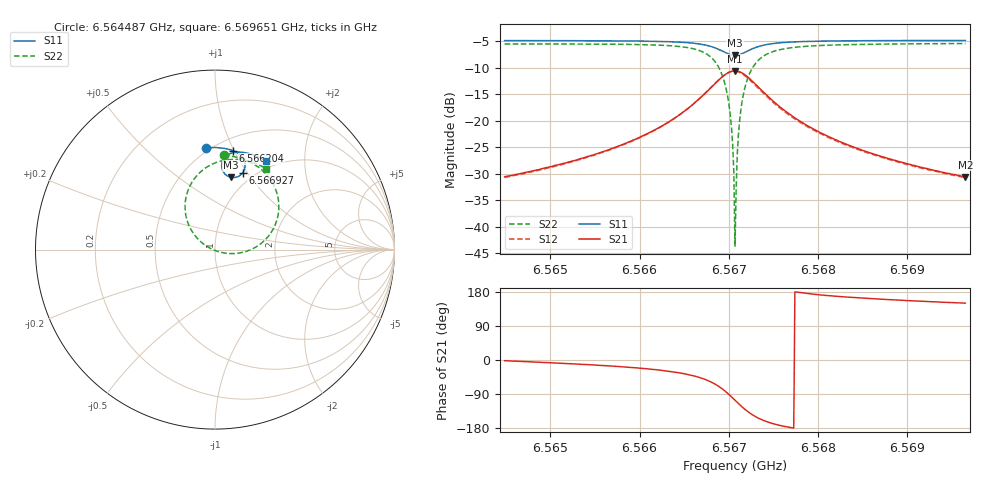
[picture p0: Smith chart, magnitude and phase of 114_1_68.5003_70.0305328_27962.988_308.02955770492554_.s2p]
#  HZ  S  RI  R  50.00
! Rohde & Schwarz Vector Network Analyzer
! Rohde-Schwarz,ZNB20-2Port,1311601062101988,3.16
! Created: UTC 3/20/2024, 4:53:41 PM
! freq[Hz]  re:S11  im:S11  re:S21  im:S21  re:S12  im:S12  re:S22  im:S22
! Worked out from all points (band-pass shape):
!   401 points, 6.564487 GHz to 6.569651 GHz, reference 50 ohm
!   highest |S21| = -10.60 dB at 6.567069 GHz (marker M1); lowest = -30.6 dB at 6.569651 GHz (marker M2)
!   |S21| within 3 dB of the highest: 6.56681 GHz to 6.567327 GHz (517.3 kHz wide, 0.00788 % of centre)
!   lowest |S11| = -7.7 dB at 6.567069 GHz (marker M3), VSWR 2.40, Z = 41.7 + j40.5 ohm
!   |S11| at or under -10 dB: nowhere
!   |S22| runs from -43.7 to -5.4 dB; largest |S21 - S12| = 0.015
!   S11 on the Smith chart (normalised r, x): 6.564487 GHz: 0.47, +0.79; 6.566204 GHz: 0.62, +0.99; 6.566927 GHz: 0.88, +0.95; 6.569651 GHz: 0.89, +1.31
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6.5644869e9  -0.0521 0.567  0.0295 -0.000973  0.029 -0.00153  0.0501 0.5261
6.5653519e9  0.0195 0.5677  0.0431 -0.00885  0.0425 -0.00933  0.1345 0.5109
6.5662041e9  0.1013 0.5508  0.0762 -0.0372  0.075 -0.0383  0.2533 0.4507
6.566217e9  0.1027 0.5501  0.077 -0.0383  0.0758 -0.0392  0.2556 0.4487
6.5667205e9  0.1626 0.4941  0.1132 -0.1353  0.1105 -0.1382  0.3551 0.2596
6.5668367e9  0.1668 0.4599  0.1018 -0.1953  0.0966 -0.199  0.3382 0.1452
6.5669271e9  0.1534 0.4269  0.061 -0.2518  0.0521 -0.2552  0.2635 0.0398
6.5670046e9  0.1227 0.4048  -0.00853 -0.2866  -0.0211 -0.2857  0.1345 -0.0193
6.5670304e9  0.109 0.4017  -0.0375 -0.2896  -0.0507 -0.2867  0.0818 -0.0221
6.5670433e9  0.1018 0.4013  -0.0526 -0.2892  -0.0657 -0.2851  0.0551 -0.0195
6.5670562e9  0.0948 0.4018  -0.0675 -0.2871  -0.0807 -0.2818  0.0286 -0.014
6.5670691e9  0.0876 0.403  -0.0823 -0.2835  -0.0951 -0.2771  0.00285 -0.0059
6.5670949e9  0.0739 0.4077  -0.1104 -0.2722  -0.122 -0.2635  -0.0454 0.018
6.5671079e9  0.0676 0.4112  -0.123 -0.2647  -0.1341 -0.2549  -0.0669 0.0333
6.5671208e9  0.0619 0.4154  -0.1352 -0.256  -0.1452 -0.2455  -0.0865 0.0501
6.5671466e9  0.0521 0.425  -0.1556 -0.236  -0.1636 -0.2243  -0.1192 0.0883
6.5671982e9  0.0401 0.4474  -0.1822 -0.1912  -0.1861 -0.1788  -0.1579 0.1705
6.5672628e9  0.0377 0.4749  -0.192 -0.1376  -0.1921 -0.1265  -0.1655 0.2652
6.5675081e9  0.076 0.5303  -0.1471 -0.0289  -0.1437 -0.0244  -0.0622 0.4481
6.5679342e9  0.1388 0.5434  -0.0841 0.00892  -0.0821 0.0101  0.0781 0.5015
6.5687992e9  0.2217 0.5245  -0.0409 0.0155  -0.04 0.0157  0.2094 0.4851
6.5696513e9  0.2858 0.4945  -0.0255 0.0146  -0.025 0.0148  0.2869 0.4507
